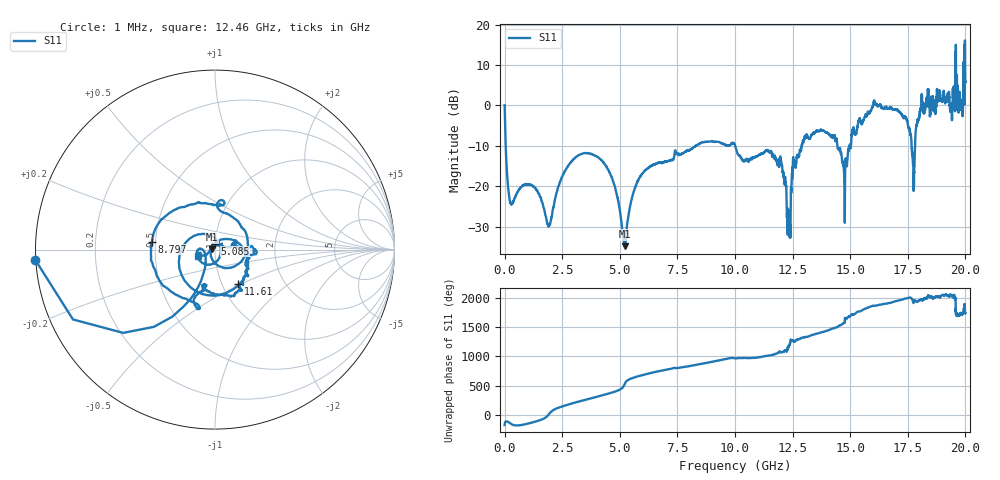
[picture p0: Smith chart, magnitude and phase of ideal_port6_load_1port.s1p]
! Created with skrf 1.8.0 (http://scikit-rf.org).
# GHz S RI R 50.0
!freq ReS11 ImS11
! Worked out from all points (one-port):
!   10001 points, 1 MHz to 20 GHz, reference 50 ohm
!   lowest |S11| = -34.8 dB at 5.221 GHz (marker M1), VSWR 1.04, Z = 48.2 + j0.235 ohm
!   |S11| at or under -10 dB: 47.97 MHz to 8.301 GHz (8.253 GHz wide, 198 % of centre); 10.01 GHz to 12.89 GHz (2.88 GHz wide, 25.1 % of centre); 14.45 GHz to 14.98 GHz (537.7 MHz wide, 3.65 % of centre) (the widest 3 of 5)
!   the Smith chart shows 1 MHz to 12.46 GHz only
!   S11 on the Smith chart (normalised r, x): 1 MHz: -0.00, -0.03; 5.085 GHz: 0.99, +0.07; 8.797 GHz: 0.48, +0.05; 11.61 GHz: 1.19, -0.49; 12.46 GHz: 0.81, -0.06
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0.001  -1.001 -0.0578
0.2969852  -0.0563 -0.0197
1.928904  0.0323 0.00658
2.500875  -0.1042 0.0804
4.0008  0.1439 -0.1838
5.00075  0.0173 0.0475
5.084746  -0.00141 0.0337
5.220739  -0.018 0.00243
5.892705  0.0863 -0.1017
7.500625  0.0301 0.2487
8.79656  -0.3529 0.0447
10.0005  -0.1139 -0.3025
11.61042  0.1306 -0.1931
12.45838  -0.1011 -0.0382
12.50038  -0.1616 -0.0274
13.89431  0.4678 -0.0896
14.47228  0.0738 0.2824
15.00025  -0.1034 -0.2947
15.61222  0.6714 0.1701
16.10019  0.309 0.9756
16.98415  -0.7659 0.4372
17.50013  -0.5401 -0.2103
17.9361  -0.5517 0.3569
18.45008  -0.6431 -0.5391
19.47603  -0.8303 -0.7446
19.68602  -0.0304 -1.176
19.87801  0.4031 -0.6465
20  1.087 -1.621
